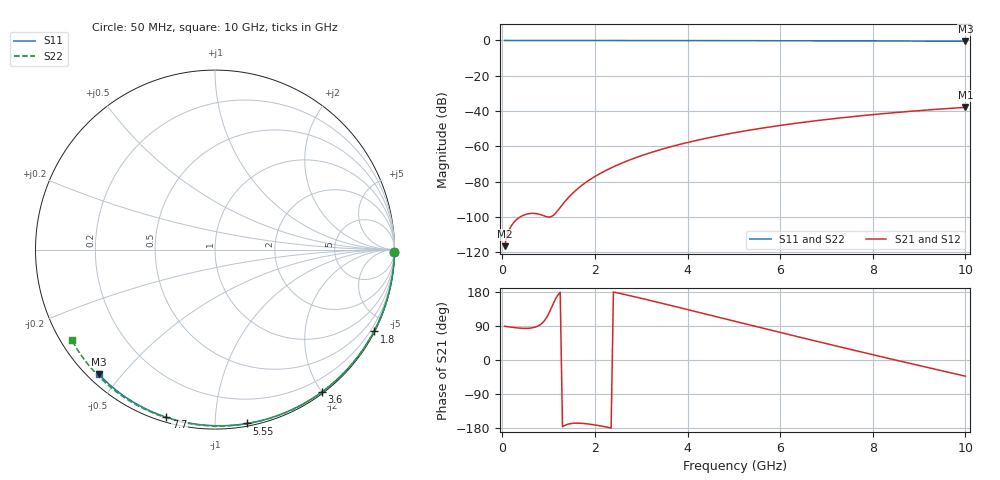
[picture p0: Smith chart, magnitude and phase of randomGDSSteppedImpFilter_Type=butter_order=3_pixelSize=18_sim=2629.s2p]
! freq	dB(S11)	phase(S11)	dB(S12)	phase(S12)
!  dB(S21)	phase(S21)	dB(S22)	phase(S22)
!S-par simulation data
#  GHz  S  DB  R 50
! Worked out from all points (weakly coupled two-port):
!   200 points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, 50 MHz to 10 GHz, reference 50 ohm
!   highest |S21| = -37.86 dB at 10 GHz (marker M1); lowest = -116.4 dB at 50 MHz (marker M2)
!   lowest |S11| = -0.5 dB at 10 GHz (marker M3), VSWR 38.36, Z = 1.55 - j21.7 ohm
!   |S11| at or under -10 dB: nowhere
!   |S22| runs from -0.5 to 0.0 dB; largest |S21 - S12| = 0
!   S11 on the Smith chart (normalised r, x): 50 MHz: open; 1.8 GHz: 0.04, -4.13; 3.6 GHz: 0.02, -1.99; 5.55 GHz: 0.02, -1.20; 7.7 GHz: 0.02, -0.75; 10 GHz: 0.03, -0.43
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0.05  -0.00 -0.8  -116.43 89.1  -116.43 89.1  -0.00 -0.9
0.45  -0.01 -6.9  -99.01 83.6  -99.01 83.6  -0.01 -7.7
0.9  -0.02 -13.7  -99.25 102.2  -99.25 102.2  -0.02 -15.3
1.3  -0.02 -19.8  -92.83 -176.2  -92.83 -176.2  -0.03 -21.9
1.75  -0.03 -26.5  -81.36 -167.4  -81.36 -167.4  -0.04 -29.4
1.8  -0.03 -27.2  -80.40 -168.0  -80.40 -168.0  -0.04 -30.2
1.85  -0.04 -28.0  -79.50 -168.7  -79.50 -168.7  -0.04 -31.0
2.05  -0.04 -30.9  -76.22 -172.4  -76.22 -172.4  -0.04 -34.3
2.2  -0.04 -33.1  -74.07 -175.7  -74.07 -175.7  -0.05 -36.7
2.55  -0.05 -38.3  -69.76 175.4  -69.76 175.4  -0.05 -42.4
2.95  -0.06 -44.0  -65.70 164.2  -65.70 164.2  -0.06 -48.8
3.4  -0.07 -50.4  -61.91 151.1  -61.91 151.1  -0.07 -55.8
3.6  -0.07 -53.3  -60.43 145.1  -60.43 145.1  -0.08 -58.9
4.3  -0.09 -62.9  -55.94 124.1  -55.94 124.1  -0.10 -69.6
5.05  -0.11 -73.0  -52.06 101.4  -52.06 101.4  -0.12 -80.6
5.55  -0.13 -79.5  -49.86 86.3  -49.86 86.3  -0.14 -87.8
6.1  -0.15 -86.6  -47.72 69.8  -47.72 69.8  -0.17 -95.6
6.7  -0.18 -94.1  -45.66 52.0  -45.66 52.0  -0.20 -103.8
7.7  -0.24 -106.2  -42.75 22.7  -42.75 22.7  -0.27 -117.3
8.35  -0.29 -113.9  -41.14 3.9  -41.14 3.9  -0.32 -125.9
9.2  -0.37 -123.8  -39.31 -20.2  -39.31 -20.2  -0.41 -137.1
10  -0.45 -133.1  -37.86 -42.7  -37.86 -42.7  -0.50 -147.7
